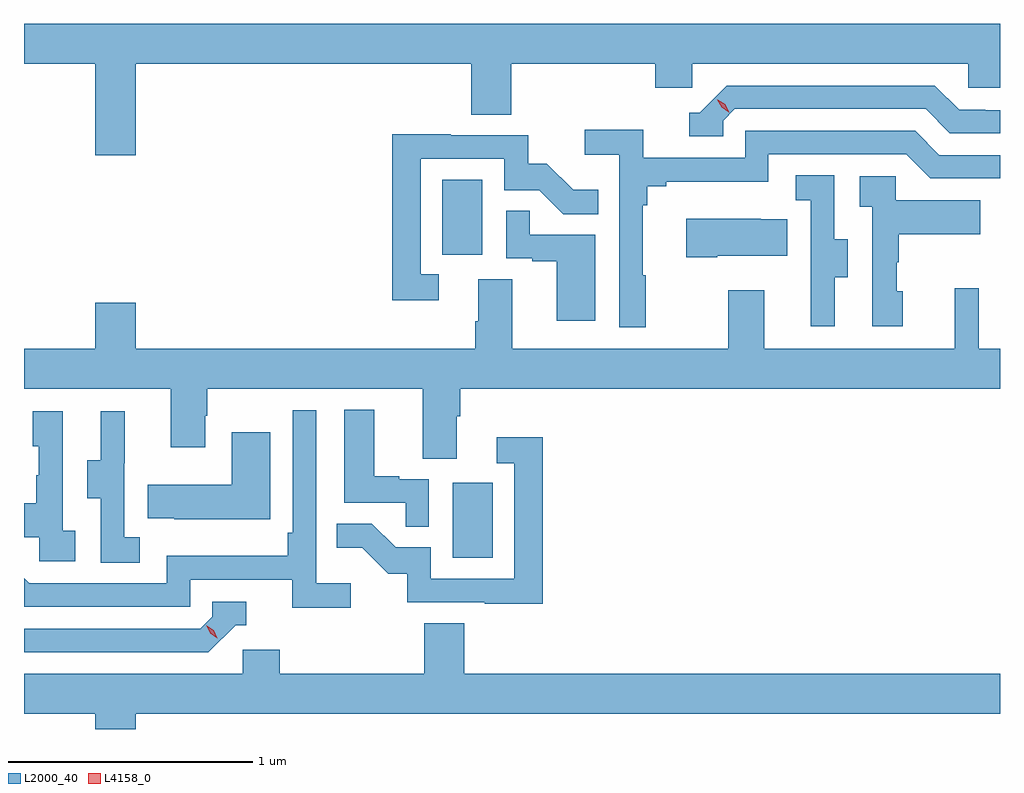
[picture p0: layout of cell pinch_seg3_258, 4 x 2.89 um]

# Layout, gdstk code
import gdstk
lib = gdstk.Library(unit=1e-6, precision=1e-09)
def R(c, l, rs):  # rectangles x0, y0, x1, y1
    for r in rs: c.add(gdstk.rectangle(r[:2], r[2:], *l))
def P(c, l, *ps):  # polygons
    for p in ps: c.add(gdstk.Polygon(p, *l))
L2000_40 = (2000, 40)
L4158_0 = (4158, 0)

pinch_seg3_258 = lib.new_cell('pinch_seg3_258')
R(pinch_seg3_258, L2000_40, [(897.74,725.532,897.904,725.839), (897.698,726.774,897.862,727.081)])
P(pinch_seg3_258, L2000_40, [(896.44,727.556),(897.815,727.556),(897.815,727.348),(897.98,727.348),(897.98,727.556),(898.571,727.556),(898.571,727.458),(898.722,727.458),(898.722,727.556),(899.853,727.556),(899.853,727.458),(899.983,727.458),(899.983,727.72),(895.983,727.72),(895.983,727.556),(896.276,727.556),(896.276,727.182),(896.44,727.182)],
  [(898.848,727.323),(898.896,727.371),(899.679,727.371),(899.778,727.272),(899.983,727.272),(899.983,727.365),(899.922,727.365),(899.922,727.368),(899.815,727.368),(899.716,727.467),(898.863,727.467),(898.752,727.356),(898.709,727.356),(898.709,727.26),(898.848,727.26)],
  [(898.531,726.689),(898.519,726.689),(898.519,726.977),(898.538,726.977),(898.538,727.054),(898.615,727.054),(898.615,727.073),(899.034,727.073),(899.034,727.185),(899.598,727.185),(899.697,727.086),(899.983,727.086),(899.983,727.182),(899.734,727.182),(899.635,727.281),(898.938,727.281),(898.938,727.17),(898.52,727.17),(898.52,727.286),(898.281,727.286),(898.281,727.184),(898.422,727.184),(898.422,726.477),(898.531,726.477)],
  [(897.682,726.693),(897.609,726.693),(897.609,727.167),(897.951,727.167),(897.951,727.038),(898.095,727.038),(898.193,726.94),(898.337,726.94),(898.337,727.039),(898.233,727.039),(898.126,727.146),(898.05,727.146),(898.05,727.263),(897.731,727.263),(897.731,727.268),(897.493,727.268),(897.493,726.588),(897.682,726.588)],
  [(899.305,726.682),(899.359,726.682),(899.359,726.837),(899.304,726.837),(899.304,727.1),(899.145,727.1),(899.145,726.997),(899.208,726.997),(899.208,726.693),(899.207,726.693),(899.207,726.48),(899.305,726.48)],
  [(899.584,726.624),(899.559,726.624),(899.559,726.743),(899.569,726.743),(899.569,726.857),(899.903,726.857),(899.903,726.997),(899.556,726.997),(899.556,727.095),(899.409,727.095),(899.409,726.971),(899.46,726.971),(899.46,726.48),(899.584,726.48)],
  [(898.324,726.855),(898.055,726.855),(898.055,726.953),(897.96,726.953),(897.96,726.759),(898.067,726.759),(898.067,726.747),(898.166,726.747),(898.166,726.504),(898.324,726.504)],
  [(898.825,726.77),(899.111,726.77),(899.111,726.919),(899.003,726.919),(899.003,726.922),(898.697,726.922),(898.697,726.763),(898.825,726.763)],
  [(897.757,726.112),(897.77,726.112),(897.77,726.224),(899.983,726.224),(899.983,726.388),(899.895,726.388),(899.895,726.637),(899.798,726.637),(899.798,726.388),(899.017,726.388),(899.017,726.628),(898.87,726.628),(898.87,726.388),(897.985,726.388),(897.985,726.674),(897.845,726.674),(897.845,726.5),(897.833,726.5),(897.833,726.388),(896.44,726.388),(896.44,726.577),(896.276,726.577),(896.276,726.388),(895.983,726.388),(895.983,726.224),(896.585,726.224),(896.585,725.985),(896.725,725.985),(896.725,726.113),(896.733,726.113),(896.733,726.224),(897.617,726.224),(897.617,725.938),(897.757,725.938)],
  [(897.642,725.853),(897.521,725.853),(897.521,725.866),(897.418,725.866),(897.418,726.139),(897.296,726.139),(897.296,725.757),(897.547,725.757),(897.547,725.659),(897.642,725.659)],
  [(897.322,725.428),(897.18,725.428),(897.18,726.136),(897.084,726.136),(897.084,725.635),(897.064,725.635),(897.064,725.539),(896.568,725.539),(896.568,725.427),(896.004,725.427),(895.983,725.448),(895.983,725.331),(896.664,725.331),(896.664,725.442),(897.083,725.442),(897.083,725.326),(897.322,725.326)],
  [(896.458,725.615),(896.394,725.615),(896.394,725.919),(896.396,725.919),(896.396,726.133),(896.297,726.133),(896.297,725.931),(896.243,725.931),(896.243,725.776),(896.298,725.776),(896.298,725.512),(896.458,725.512)],
  [(896.194,725.642),(896.142,725.642),(896.142,726.133),(896.018,726.133),(896.018,725.988),(896.044,725.988),(896.044,725.87),(896.034,725.87),(896.034,725.755),(895.983,725.755),(895.983,725.615),(896.046,725.615),(896.046,725.517),(896.194,725.517)],
  [(896.992,726.046),(896.834,726.046),(896.834,725.83),(896.491,725.83),(896.491,725.693),(896.599,725.693),(896.599,725.69),(896.992,725.69)],
  [(898.109,726.025),(897.921,726.025),(897.921,725.919),(897.993,725.919),(897.993,725.445),(897.651,725.445),(897.651,725.574),(897.506,725.574),(897.408,725.672),(897.265,725.672),(897.265,725.573),(897.369,725.573),(897.476,725.466),(897.553,725.466),(897.553,725.349),(897.871,725.349),(897.871,725.344),(898.109,725.344)],
  [(896.85,725.256),(896.893,725.256),(896.893,725.352),(896.754,725.352),(896.754,725.289),(896.706,725.241),(895.983,725.241),(895.983,725.145),(896.739,725.145)],
  [(896.44,724.892),(899.983,724.892),(899.983,725.056),(897.788,725.056),(897.788,725.264),(897.623,725.264),(897.623,725.056),(897.032,725.056),(897.032,725.154),(896.88,725.154),(896.88,725.056),(895.983,725.056),(895.983,724.892),(896.276,724.892),(896.276,724.829),(896.44,724.829)])
P(pinch_seg3_258, L4158_0, [(896.776,725.202),(896.746,725.222),(896.73,725.255),(896.73,725.255),(896.73,725.255),(896.76,725.235),(896.776,725.202),(896.776,725.202)],
  [(898.872,727.358),(898.842,727.377),(898.825,727.409),(898.825,727.409),(898.826,727.409),(898.856,727.39),(898.873,727.358),(898.873,727.358)])

lib.write_gds('pinch_seg3_258.gds')
